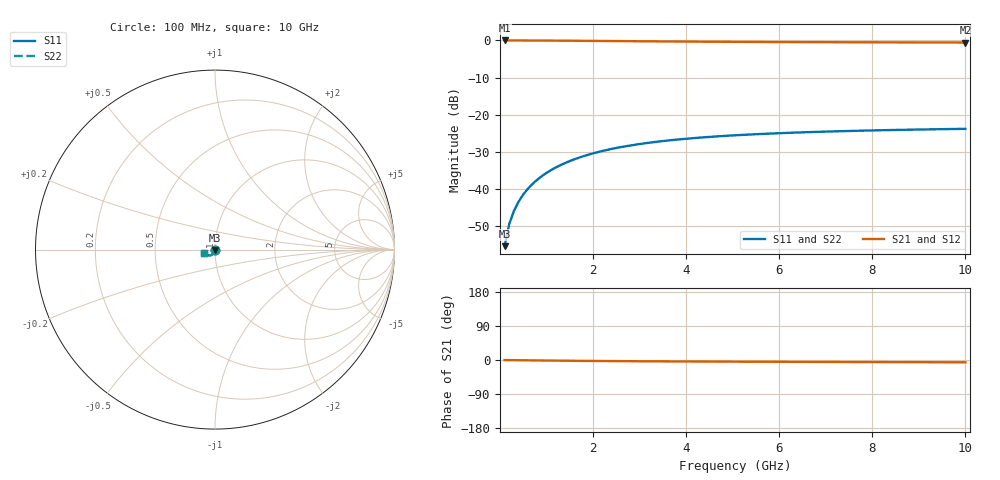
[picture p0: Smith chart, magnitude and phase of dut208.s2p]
! Touchstone file exported from HFSS 2024.1.0
!  File:  C:/UserFiles/LocalFiles/RDL_TSV_Batchsim/temp_TSV1_208_1778757555.aedt
!  Generated:  07:25:30 PM May 14, 2026
!  Design:  TSV1
!  Project:  temp_TSV1_208_1778757555
!  Setup:  Setup1
!  Solution:  Sweep
! Variables:
!  dtsv = 10.88um
!  hbump = 3um
!  htsv = 97.65um
!  lrdl = 252.1521522um
!  p = 40
!  p1 = 42.65um
!  t = 500um
!  trdl = 3um
!  wrdl = 24.89489489um
# GHz S MA R 50.000000
! Terminal data exported
! Port[1] = TSV22_T1
! Port[2] = TSV22_T2
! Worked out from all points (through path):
!   100 points, 100 MHz to 10 GHz, reference 50 ohm
!   highest |S21| = 0.00 dB at 100 MHz (marker M1); lowest = -0.6 dB at 10 GHz (marker M2)
!   lowest |S11| = -55.5 dB at 100 MHz (marker M3), VSWR 1.00, Z = 50 - j0.167 ohm
!   |S11| at or under -10 dB: start of sweep to end of sweep
!   |S22| runs from -55.5 to -23.8 dB; largest |S21 - S12| = 7.1e-15
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0.1  0.001676 -86.6  0.9998 -0.1  0.9998 -0.1  0.001676 -86.6
! Gamma 0 0 0 0
! Port Impedance 50 0 50 0
0.2  0.003345 -90.4  0.9997 -0.3  0.9997 -0.3  0.003345 -90.4
0.3  0.005015 -92.7  0.9994 -0.4  0.9994 -0.4  0.005015 -92.7
0.4  0.00668 -94.6  0.9991 -0.6  0.9991 -0.6  0.00668 -94.6
0.5  0.008336 -96.3  0.9987 -0.7  0.9987 -0.7  0.008336 -96.3
0.6  0.009977 -98.0  0.9982 -0.9  0.9982 -0.9  0.009977 -98.0
0.7  0.0116 -99.6  0.9976 -1.0  0.9976 -1.0  0.0116 -99.6
0.8  0.0132 -101.2  0.997 -1.1  0.997 -1.1  0.0132 -101.2
0.9  0.01478 -102.7  0.9963 -1.3  0.9963 -1.3  0.01478 -102.7
1.1  0.01784 -105.7  0.9948 -1.5  0.9948 -1.5  0.01784 -105.7
1.4  0.0222 -110.0  0.9921 -1.9  0.9921 -1.9  0.0222 -110.0
1.6  0.02493 -112.7  0.9901 -2.1  0.9901 -2.1  0.02493 -112.7
1.8  0.02751 -115.3  0.988 -2.3  0.988 -2.3  0.02751 -115.3
2.1  0.03111 -119.0  0.9848 -2.6  0.9848 -2.6  0.03111 -119.0
2.5  0.03541 -123.5  0.9804 -3.0  0.9804 -3.0  0.03541 -123.5
2.9  0.03916 -127.7  0.9762 -3.3  0.9762 -3.3  0.03916 -127.7
3.4  0.04318 -132.3  0.9712 -3.6  0.9712 -3.6  0.04318 -132.3
4.2  0.04833 -138.5  0.9641 -4.0  0.9641 -4.0  0.04833 -138.5
5.1  0.05272 -144.4  0.9575 -4.4  0.9575 -4.4  0.05272 -144.4
6.7  0.05811 -152.5  0.9487 -5.0  0.9487 -5.0  0.05811 -152.5
8.4  0.06182 -159.0  0.9423 -5.6  0.9423 -5.6  0.06182 -159.0
10  0.0642 -163.9  0.938 -6.1  0.938 -6.1  0.0642 -163.9
